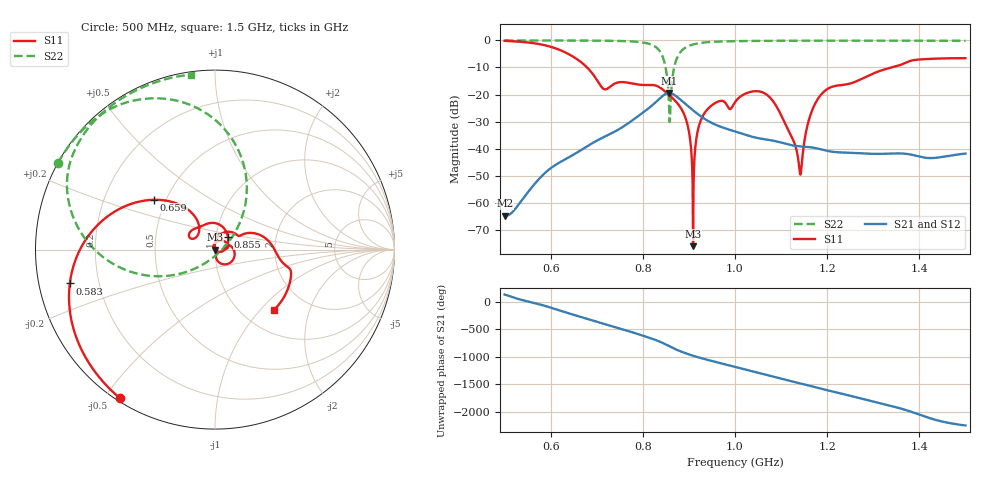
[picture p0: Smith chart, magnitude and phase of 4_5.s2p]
! TOUCHSTONE file generated by CST MICROWAVE STUDIO
! Date and time: Fri Oct  2 19:08:26 2020
! Project name: Scenario_1_Free_Space_out_of_line.cst
! Parameters = {Lambda=346.42; Step_1=17.321; dy1=295.617; dx1=866; L_HA=400; MT=2.54; Rad_Dielectric=30; Rad_Lower=7.3; Rad_Upper=30; a_HA=580; a_WG=246; b_HA=500; b_WG=121; c_HA=0; c_WG=187; d_feed=85; h_feed=15; h_lower=18; h_upper=40}
! Header version: 2018
! Port assignment regex: !\s*Touchstone port\s*([0-9]+)\s*=\s*(CST MWS port|CST DS port)\s*([0-9]+|Zmin|Zmax)\s*\(\"(.*)\"\)(\s*mode\s*([0-9]+))?.*
! Touchstone port assignment:
! Touchstone port 1 = CST MWS port 1 ("")
! Touchstone port 2 = CST MWS port 2 ("")
# GHz S DB R 50
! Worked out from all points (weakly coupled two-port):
!   1003 points, 500 MHz to 1.5 GHz, reference 50 ohm
!   highest |S21| = -19.46 dB at 857 MHz (marker M1); lowest = -64.9 dB at 501 MHz (marker M2)
!   lowest |S11| = -76.1 dB at 909 MHz (marker M3), VSWR 1.00, Z = 50 - j0.0148 ohm
!   |S11| at or under -10 dB: 679 MHz to 1.339 GHz (660.4 MHz wide, 65.4 % of centre)
!   |S22| runs from -30.2 to 0.0 dB; largest |S21 - S12| = 0.00033
!   S11 on the Smith chart (normalised r, x): 500 MHz: 0.01, -0.55; 583 MHz: 0.09, -0.11; 659 MHz: 0.43, +0.30; 855 MHz: 1.14, +0.17; 1.5 GHz: 1.39, -1.19
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0.5  -0.15 -122.5  -64.84 127.0  -64.95 125.6  -0.01 151.2
0.501  -0.16 -123.0  -64.85 124.2  -64.95 122.8  -0.01 151.1
0.583  -1.61 -166.9  -49.77 -67.8  -49.80 -67.2  -0.02 145.4
0.659  -7.15 140.8  -41.27 96.5  -41.25 96.4  -0.04 139.1
0.667  -8.17 135.5  -40.42 76.6  -40.40 76.4  -0.04 138.3
0.717  -18.06 140.6  -35.60 -49.0  -35.60 -49.1  -0.10 132.6
0.834  -17.12 77.5  -21.88 1.9  -21.86 1.9  -3.38 85.9
0.847  -18.68 57.0  -20.03 -46.1  -20.01 -46.2  -8.19 62.9
0.855  -19.86 45.3  -19.49 -79.4  -19.48 -79.5  -18.01 37.5
0.857  -20.16 42.4  -19.46 -87.9  -19.46 -88.0  -24.79 17.3
0.873  -22.84 18.1  -20.70 -152.2  -20.71 -152.2  -7.00 -162.3
0.893  -28.86 -20.0  -23.57 141.9  -23.57 141.9  -2.60 173.8
0.909  -76.08 -110.0  -25.86 97.1  -25.87 97.1  -1.48 163.5
0.92  -32.77 100.8  -27.32 69.2  -27.34 69.2  -1.06 158.5
0.934  -26.84 74.9  -28.99 36.4  -28.99 36.4  -0.74 153.6
1  -22.86 21.7  -33.67 -106.7  -33.66 -106.7  -0.27 140.3
1.074  -20.79 -62.5  -36.80 95.8  -36.80 95.8  -0.14 132.1
1.141  -49.09 2.2  -39.18 -43.7  -39.16 -43.8  -0.10 126.3
1.167  -26.02 87.4  -39.58 -99.0  -39.58 -99.2  -0.10 124.2
1.203  -17.72 49.4  -40.92 -174.4  -40.87 -174.4  -0.09 121.5
1.334  -10.24 7.6  -41.85 -84.4  -41.75 -84.6  -0.09 111.5
1.5  -6.57 -45.3  -41.84 -88.0  -41.84 -87.9  -0.14 98.0
